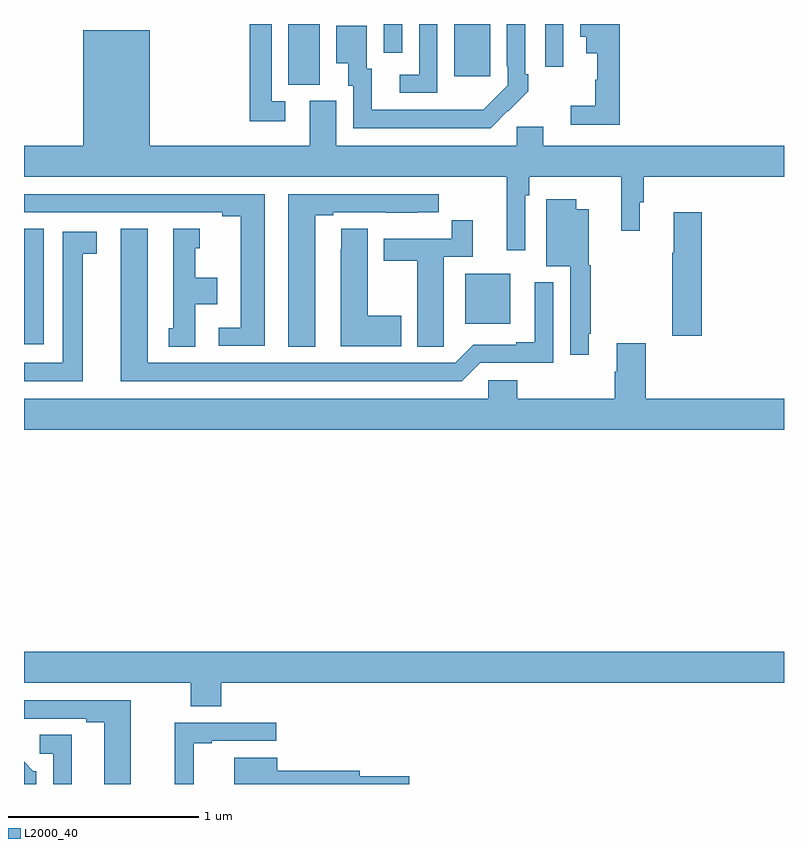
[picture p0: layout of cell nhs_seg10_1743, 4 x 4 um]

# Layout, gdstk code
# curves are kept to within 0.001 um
import gdstk
lib = gdstk.Library(unit=1e-6, precision=1e-09)
def R(c, l, rs):  # rectangles x0, y0, x1, y1
    for r in rs: c.add(gdstk.rectangle(r[:2], r[2:], *l))
def P(c, l, *ps):  # polygons
    for p in ps: c.add(gdstk.Polygon(p, *l))
L2000_40 = (2000, 40)

nhs_seg10_1743 = lib.new_cell('nhs_seg10_1743')
R(nhs_seg10_1743, L2000_40, [(203,1252.815,203.104,1253.423), (205.322,1252.922,205.558,1253.185), (204.392,1254.181,204.556,1254.5), (205.265,1254.225,205.453,1254.499), (205.743,1254.276,205.839,1254.5), (204.894,1254.348,204.99,1254.5)])
P(nhs_seg10_1743, L2000_40, [(204.376,1254.093),(204.303,1254.093),(204.303,1254.5),(204.187,1254.5),(204.187,1253.988),(204.376,1253.988)],
  [(205.547,1254.043),(205.548,1254.042),(205.653,1254.147),(205.653,1254.235),(205.638,1254.235),(205.638,1254.5),(205.542,1254.5),(205.542,1254.277),(205.545,1254.277),(205.545,1254.177),(205.417,1254.049),(204.829,1254.048),(204.829,1254.264),(204.805,1254.264),(204.805,1254.49),(204.644,1254.49),(204.644,1254.293),(204.707,1254.293),(204.707,1254.174),(204.732,1254.174),(204.732,1253.952),(205.456,1253.952)],
  [(206.135,1254.5),(205.928,1254.5),(205.928,1254.434),(205.958,1254.434),(205.958,1254.347),(206.018,1254.347),(206.018,1254.207),(206.007,1254.207),(206.007,1254.071),(205.878,1254.071),(205.878,1253.97),(206.135,1253.97)],
  [(205.176,1254.5),(205.08,1254.5),(205.08,1254.234),(204.978,1254.234),(204.978,1254.138),(205.176,1254.138)],
  [(203.312,1254.466),(203.312,1253.86),(203,1253.86),(203,1253.696),(205.541,1253.696),(205.541,1253.31),(205.638,1253.31),(205.638,1253.6),(205.658,1253.6),(205.658,1253.696),(206.143,1253.696),(206.143,1253.412),(206.242,1253.412),(206.242,1253.562),(206.261,1253.562),(206.261,1253.696),(207,1253.696),(207,1253.86),(205.732,1253.86),(205.732,1253.958),(205.593,1253.958),(205.593,1253.86),(204.643,1253.86),(204.643,1254.096),(204.503,1254.096),(204.503,1253.86),(203.662,1253.86),(203.662,1254.466)],
  [(204.532,1253.493),(204.628,1253.493),(204.628,1253.508),(204.904,1253.508),(204.904,1253.507),(205.07,1253.507),(205.07,1253.508),(205.183,1253.508),(205.183,1253.604),(204.392,1253.604),(204.392,1252.801),(204.532,1252.801)],
  [(204.268,1253.604),(203,1253.604),(203,1253.508),(204.044,1253.508),(204.044,1253.488),(204.14,1253.488),(204.14,1252.902),(204.024,1252.902),(204.024,1252.806),(204.268,1252.806)],
  [(205.972,1252.87),(205.984,1252.87),(205.984,1253.229),(205.972,1253.229),(205.972,1253.524),(205.906,1253.524),(205.906,1253.578),(205.748,1253.578),(205.748,1253.225),(205.875,1253.225),(205.875,1252.758),(205.972,1252.758)],
  [(206.567,1253.509),(206.42,1253.509),(206.42,1253.296),(206.413,1253.296),(206.413,1252.86),(206.567,1252.86)],
  [(205.209,1252.912),(205.21,1252.912),(205.21,1253.274),(205.361,1253.274),(205.361,1253.467),(205.252,1253.467),(205.252,1253.37),(204.893,1253.37),(204.893,1253.254),(205.07,1253.254),(205.07,1252.801),(205.209,1252.801)],
  [(204.985,1252.965),(204.808,1252.965),(204.808,1253.423),(204.669,1253.423),(204.669,1253.315),(204.668,1253.315),(204.668,1252.805),(204.985,1252.805)],
  [(205.401,1252.716),(205.785,1252.716),(205.785,1253.14),(205.688,1253.14),(205.688,1252.825),(205.592,1252.825),(205.592,1252.812),(205.365,1252.812),(205.269,1252.716),(203.65,1252.716),(203.65,1253.422),(203.51,1253.422),(203.51,1252.62),(205.305,1252.62)],
  [(203.902,1253.024),(204.016,1253.024),(204.016,1253.164),(203.902,1253.164),(203.902,1253.319),(203.926,1253.319),(203.926,1253.422),(203.786,1253.422),(203.786,1252.899),(203.762,1252.899),(203.762,1252.801),(203.902,1252.801)],
  [(203.308,1253.29),(203.383,1253.29),(203.383,1253.406),(203.204,1253.406),(203.204,1252.716),(203,1252.716),(203,1252.62),(203.308,1252.62)],
  [(207,1252.528),(206.273,1252.528),(206.273,1252.819),(206.12,1252.819),(206.12,1252.67),(206.108,1252.67),(206.108,1252.528),(205.595,1252.528),(205.595,1252.626),(205.443,1252.626),(205.443,1252.528),(203,1252.528),(203,1252.364),(207,1252.364)],
  [(204.038,1251.032),(207,1251.032),(207,1251.196),(203,1251.196),(203,1251.032),(203.878,1251.032),(203.878,1250.908),(204.038,1250.908)],
  [(203.563,1250.94),(203,1250.94),(203,1250.844),(203.327,1250.844),(203.327,1250.824),(203.423,1250.824),(203.423,1250.5),(203.563,1250.5)],
  [(203.894,1250.715),(203.989,1250.715),(203.989,1250.727),(204.328,1250.727),(204.328,1250.823),(203.794,1250.823),(203.794,1250.5),(203.894,1250.5)],
  [(203.251,1250.759),(203.082,1250.759),(203.082,1250.658),(203.154,1250.658),(203.154,1250.5),(203.251,1250.5)],
  [(205.027,1250.54),(204.766,1250.54),(204.766,1250.569),(204.334,1250.569),(204.334,1250.638),(204.107,1250.638),(204.107,1250.5),(205.027,1250.5)],
  [(203.064,1250.568),(203.049,1250.568),(203,1250.617),(203,1250.5),(203.064,1250.5)])

lib.write_gds('nhs_seg10_1743.gds')
